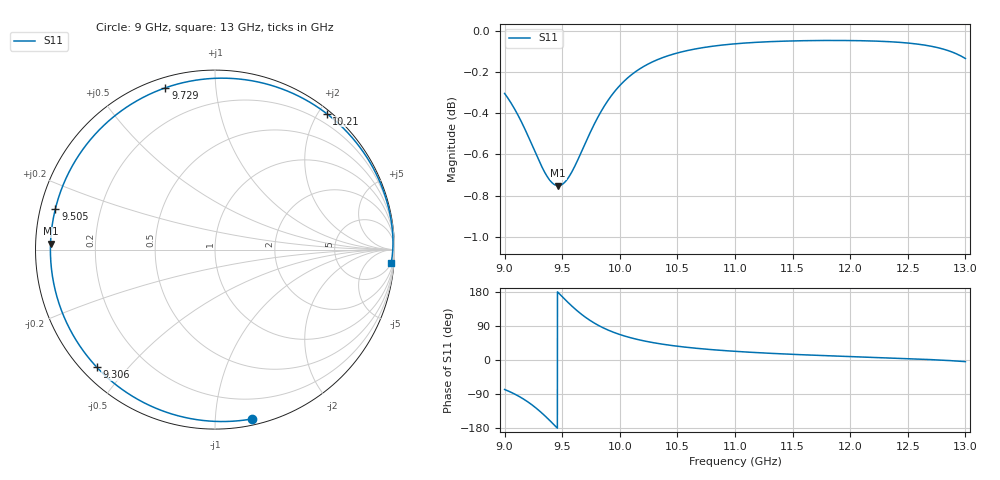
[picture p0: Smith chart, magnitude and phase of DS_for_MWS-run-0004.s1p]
! TOUCHSTONE file generated by CST DESIGN STUDIO
! Date and time: Tue Feb  4 16:14:24 2025
! Project name: C:\Work\MatlabApps\UnitCellOptimizationMatlab\CST\unitcell.cst
! Tree item: Tasks\Sweep1\SPara1\S-Parameters
! Header version: 2024
! Port assignment regex: !\s*Touchstone port\s*([0-9]+)\s*=\s*(CST MWS port|CST DES external port|CST DES block port)\s*(.+)\s* \(\"(.*)\"\)(\s*mode\s*([0-9]+))?.*
! Touchstone port assignment:
! Touchstone port 1 = CST DES external port 1 ("")
# GHz S MA R 50
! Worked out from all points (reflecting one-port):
!   4001 points, 9 GHz to 13 GHz, reference 50 ohm
!   lowest |S11| = -0.8 dB at 9.465 GHz (marker M1), VSWR 23.11, Z = 2.16 + j0.908 ohm
!   phase of S11 starts at -78 deg and turns -287 deg over the sweep
!   S11 on the Smith chart (normalised r, x): 9 GHz: 0.04, -1.24; 9.306 GHz: 0.04, -0.41; 9.505 GHz: 0.04, +0.13; 9.729 GHz: 0.05, +0.74; 10.21 GHz: 0.05, +2.11; 13 GHz: 5, -26
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9  0.9656 -77.8
9.076  0.9584 -88.1
9.174  0.9468 -105.0
9.242  0.9376 -119.4
9.306  0.929 -135.3
9.391  0.9199 -159.4
9.429  0.9177 -170.9
9.465  0.917 177.9
9.5  0.9177 167.1
9.505  0.9179 165.6
9.557  0.9215 150.0
9.618  0.9282 133.0
9.672  0.9352 119.5
9.729  0.9429 107.0
9.782  0.9496 96.9
9.842  0.9564 87.0
9.919  0.9638 76.4
10  0.9699 67.3
10.098  0.9756 58.4
10.207  0.9803 50.6
10.342  0.9844 43.1
10.5  0.9877 36.3
10.722  0.9907 29.3
11  0.9928 22.9
11.5  0.9944 14.9
12  0.9946 9.1
12.5  0.9933 3.6
13  0.9847 -4.3
